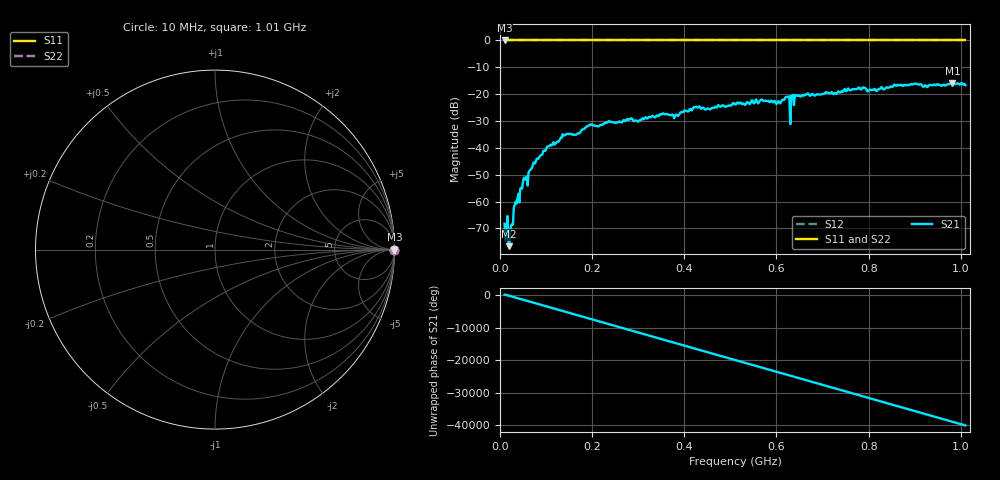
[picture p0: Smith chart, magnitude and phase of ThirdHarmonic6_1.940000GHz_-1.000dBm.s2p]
! 8/16/2025 11:22:27 PM
! C:\ANRITSUVNA\TEMP\TEMP.S2P
! CHANNEL.1
! TR.MEASUREMENT
! RAW.DATA
! RF.CORRECTION.OFF
! AVERAGING.OFF
! IF.BANDWIDTH: 5KHZ
! SWEEPTYPE:  FREQ.SWEEP(Linear)
! Reference Plane Port Info
! PORT:  PORT1  PORT2
! DISTANCE:  0  m  0  m
! TIME:  0  s  0  s
! PHASE.OFFSET:  0  deg.  0  deg.
! LOSS:  0  dB  0  dB
! REF.LOSS:  0  dB  0  dB
! REF.FREQ:  0  Hz  0  Hz
! Power Info
! POWER:  -20  dBm  -20  dBm
! EFF.POWER:  -20  dBm  -20  dBm
! SOURCE.ATTEN:  0  dB  0  dB
! TEST.ATTEN:  0  dB  0  dB
# GHZ S RI R 50.0
! FREQ.GHZ  S11RE  S11IM  S21RE  S21IM  S12RE  S12IM  S22RE  S22IM
!; PortSelection: Port_12
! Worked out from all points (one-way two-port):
!   501 points, 10 MHz to 1.01 GHz, reference 50 ohm
!   highest |S21| = -15.80 dB at 982 MHz (marker M1); lowest = -76.6 dB at 20 MHz (marker M2)
!   lowest |S11| = 0.0 dB at 10 MHz (marker M3)
!   |S11| at or under -10 dB: nowhere
!   |S22| runs from 0.0 to 0.0 dB; largest |S21 - S12| = 1.2
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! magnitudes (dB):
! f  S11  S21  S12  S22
! 10 MHz  0.0  -68.3  0.0  0.0
! 16 MHz  0.0  -65.4  0.0  0.0
! 20 MHz  0.0  -76.6  0.0  0.0
! 24 MHz  0.0  -69.0  0.0  0.0
! 34 MHz  0.0  -60.0  0.0  0.0
! 48 MHz  0.0  -55.2  0.0  0.0
! 76 MHz  0.0  -45.8  0.0  0.0
! 140 MHz  0.0  -35.4  0.0  0.0
! 178 MHz  0.0  -33.3  0.0  0.0
! 198 MHz  0.0  -31.2  0.0  0.0
! 344 MHz  0.0  -28.2  0.0  0.0
! 510 MHz  0.0  -23.8  0.0  0.0
! 604 MHz  0.0  -22.6  0.0  0.0
! 624 MHz  0.0  -21.1  0.0  0.0
! 626 MHz  0.0  -21.1  0.0  0.0
! 634 MHz  0.0  -20.5  0.0  0.0
! 636 MHz  0.0  -20.3  0.0  0.0
! 644 MHz  0.0  -20.6  0.0  0.0
! 678 MHz  0.0  -19.9  0.0  0.0
! 844 MHz  0.0  -17.6  0.0  0.0
! 982 MHz  0.0  -15.8  0.0  0.0
! 1.01 GHz  0.0  -16.6  0.0  0.0
